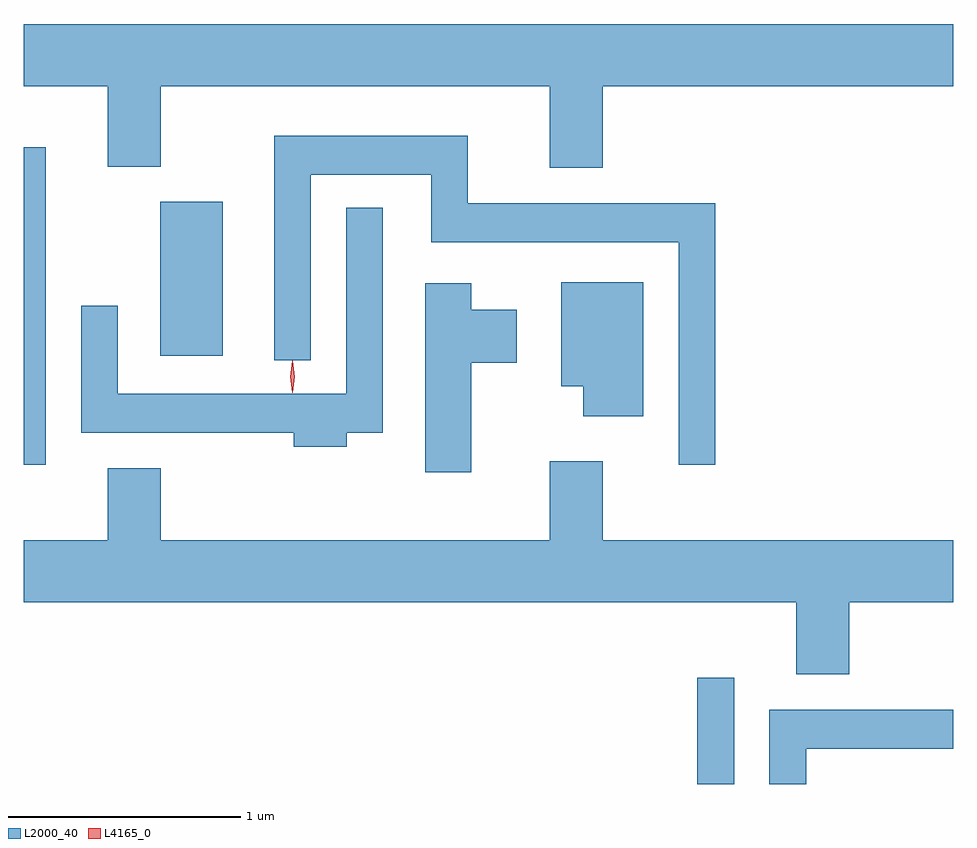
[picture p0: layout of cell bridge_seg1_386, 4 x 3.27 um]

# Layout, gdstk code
import gdstk
lib = gdstk.Library(unit=1e-6, precision=1e-09)
def R(c, l, rs):  # rectangles x0, y0, x1, y1
    for r in rs: c.add(gdstk.rectangle(r[:2], r[2:], *l))
def P(c, l, *ps):  # polygons
    for p in ps: c.add(gdstk.Polygon(p, *l))
L2000_40 = (2000, 40)
L4165_0 = (4165, 0)

bridge_seg1_386 = lib.new_cell('bridge_seg1_386')
R(bridge_seg1_386, L2000_40, [(559.086,969.835,559.244,970.293), (556.188,971.208,556.284,972.574), (556.776,971.676,557.044,972.339)])
P(bridge_seg1_386, L2000_40, [(558.679,972.836),(560.188,972.836),(560.188,973.104),(556.188,973.104),(556.188,972.836),(556.551,972.836),(556.551,972.491),(556.779,972.491),(556.779,972.836),(558.451,972.836),(558.451,972.486),(558.679,972.486)],
  [(559.164,972.334),(558.099,972.334),(558.099,972.624),(557.266,972.624),(557.266,971.658),(557.424,971.658),(557.424,972.456),(557.941,972.456),(557.941,972.166),(559.006,972.166),(559.006,971.208),(559.164,971.208)],
  [(557.579,971.346),(557.734,971.346),(557.734,972.313),(557.576,972.313),(557.576,971.514),(556.594,971.514),(556.594,971.893),(556.436,971.893),(556.436,971.346),(557.351,971.346),(557.351,971.286),(557.579,971.286)],
  [(558.854,971.994),(558.501,971.994),(558.501,971.546),(558.596,971.546),(558.596,971.416),(558.854,971.416)],
  [(558.114,971.646),(558.309,971.646),(558.309,971.874),(558.114,971.874),(558.114,971.989),(557.916,971.989),(557.916,971.176),(558.114,971.176)],
  [(559.739,970.616),(560.188,970.616),(560.188,970.884),(558.679,970.884),(558.679,971.224),(558.451,971.224),(558.451,970.884),(556.779,970.884),(556.779,971.194),(556.551,971.194),(556.551,970.884),(556.188,970.884),(556.188,970.616),(559.511,970.616),(559.511,970.306),(559.739,970.306)],
  [(559.554,969.986),(560.188,969.986),(560.188,970.154),(559.396,970.154),(559.396,969.835),(559.554,969.835)])
P(bridge_seg1_386, L4165_0, [(557.344,971.517),(557.335,971.586),(557.344,971.656),(557.345,971.656),(557.346,971.656),(557.355,971.586),(557.346,971.517),(557.345,971.517)],
  [(557.345,971.519),(557.344,971.52),(557.335,971.586),(557.344,971.652),(557.345,971.653),(557.345,971.652),(557.355,971.586),(557.345,971.52)])

lib.write_gds('bridge_seg1_386.gds')
